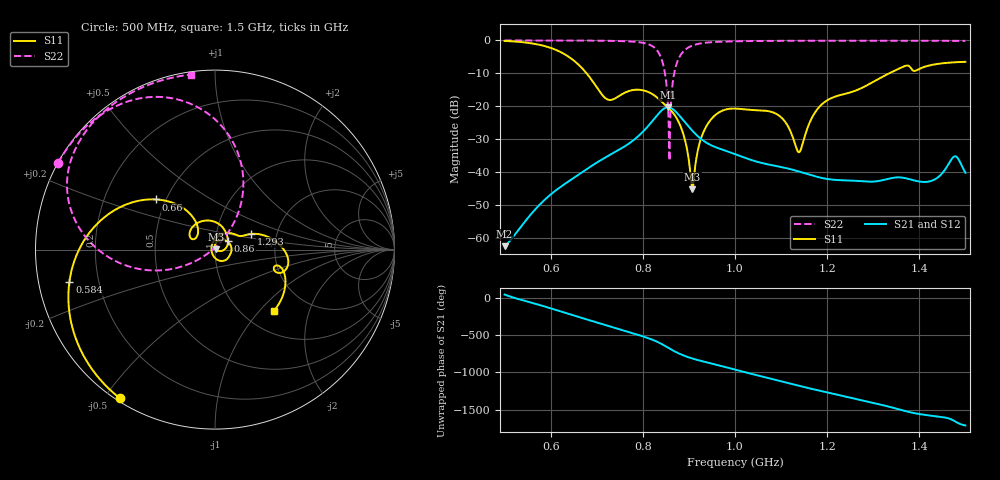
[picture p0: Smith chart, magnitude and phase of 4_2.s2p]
! TOUCHSTONE file generated by CST MICROWAVE STUDIO
! Date and time: Fri Oct  2 16:32:43 2020
! Project name: Scenario_1_Free_Space_out_of_line.cst
! Parameters = {Lambda=346.42; Step_1=17.321; dy1=295.617; dx1=346; L_HA=400; MT=2.54; Rad_Dielectric=30; Rad_Lower=7.3; Rad_Upper=30; a_HA=580; a_WG=246; b_HA=500; b_WG=121; c_HA=0; c_WG=187; d_feed=85; h_feed=15; h_lower=18; h_upper=40}
! Header version: 2018
! Port assignment regex: !\s*Touchstone port\s*([0-9]+)\s*=\s*(CST MWS port|CST DS port)\s*([0-9]+|Zmin|Zmax)\s*\(\"(.*)\"\)(\s*mode\s*([0-9]+))?.*
! Touchstone port assignment:
! Touchstone port 1 = CST MWS port 1 ("")
! Touchstone port 2 = CST MWS port 2 ("")
# GHz S DB R 50
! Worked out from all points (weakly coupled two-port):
!   1003 points, 500 MHz to 1.5 GHz, reference 50 ohm
!   highest |S21| = -20.33 dB at 854 MHz (marker M1); lowest = -62.5 dB at 500 MHz (marker M2)
!   lowest |S11| = -45.2 dB at 907 MHz (marker M3), VSWR 1.01, Z = 50.5 + j0.264 ohm
!   |S11| at or under -10 dB: 677.9 MHz to 1.335 GHz (656.7 MHz wide, 65.3 % of centre)
!   |S22| runs from -36.5 to 0.0 dB; largest |S21 - S12| = 0.00016
!   S11 on the Smith chart (normalised r, x): 500 MHz: 0.01, -0.55; 584 MHz: 0.09, -0.11; 660 MHz: 0.44, +0.30; 860 MHz: 1.15, +0.12; 1.293 GHz: 1.48, +0.27; 1.5 GHz: 1.37, -1.20
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0.5  -0.15 -122.6  -62.55 44.6  -62.55 44.6  -0.01 151.1
0.584  -1.60 -167.4  -48.83 -110.1  -48.83 -110.1  -0.02 145.3
0.66  -7.32 139.5  -40.84 105.3  -40.84 105.3  -0.04 139.0
0.667  -8.29 135.1  -40.17 92.2  -40.17 92.2  -0.04 138.3
0.724  -17.99 141.1  -35.16 -15.1  -35.16 -15.1  -0.12 131.6
0.791  -14.98 126.0  -28.98 -138.2  -28.98 -138.2  -0.53 116.5
0.834  -17.73 70.3  -22.26 123.2  -22.26 123.2  -3.66 84.3
0.847  -19.41 53.3  -20.63 80.5  -20.63 80.5  -9.18 63.6
0.854  -20.29 43.9  -20.33 55.3  -20.33 55.2  -18.26 52.5
0.86  -21.10 34.9  -20.49 33.5  -20.49 33.5  -22.11 -149.2
0.874  -23.79 11.3  -22.03 -12.7  -22.03 -12.7  -6.79 -167.0
0.907  -45.21 28.4  -27.40 -91.5  -27.40 -91.5  -1.60 164.6
0.939  -25.81 70.0  -31.18 -144.6  -31.17 -144.6  -0.66 151.9
1  -20.72 -0.2  -34.57 118.2  -34.57 118.2  -0.27 140.2
1.093  -22.61 -59.0  -38.29 -25.7  -38.29 -25.7  -0.13 130.3
1.138  -33.98 -171.0  -39.82 -96.6  -39.82 -96.6  -0.10 126.5
1.167  -23.49 83.5  -41.04 -140.2  -41.04 -140.2  -0.09 124.1
1.293  -13.14 23.3  -42.95 41.4  -42.94 41.4  -0.09 114.5
1.334  -10.04 11.9  -42.02 -17.5  -42.03 -17.5  -0.09 111.4
1.426  -7.48 -22.1  -42.71 -138.8  -42.71 -138.8  -0.11 104.2
1.477  -6.64 -39.2  -35.22 147.1  -35.19 146.6  -0.13 99.9
1.5  -6.50 -46.0  -40.25 90.3  -40.25 90.3  -0.14 97.8
